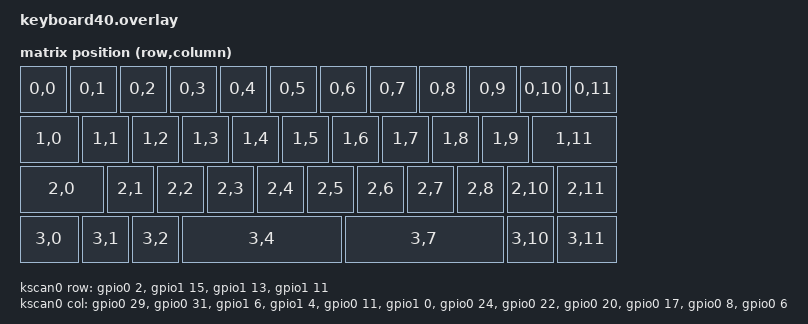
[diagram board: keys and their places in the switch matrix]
#include <dt-bindings/zmk/matrix_transform.h>

#include <physical_layouts.dtsi>
/ {
    chosen {
        zmk,kscan = &kscan0;
        zmk,matrix-transform = &default_transform;
        
    };
    default_transform: keymap_transform {
        compatible = "zmk,matrix-transform";
        columns = <12>; 
        rows = <4>; 
        map = <
            RC(0,0) RC(0,1) RC(0,2) RC(0,3) RC(0,4) RC(0,5) RC(0,6) RC(0,7) RC(0,8) RC(0,9) RC(0,10) RC(0,11)
            RC(1,0) RC(1,1) RC(1,2) RC(1,3) RC(1,4) RC(1,5) RC(1,6) RC(1,7) RC(1,8) RC(1,9)          RC(1,11)
            RC(2,0) RC(2,1) RC(2,2) RC(2,3) RC(2,4) RC(2,5) RC(2,6) RC(2,7) RC(2,8)         RC(2,10) RC(2,11)
            RC(3,0) RC(3,1) RC(3,2)         RC(3,4)                 RC(3,7)                 RC(3,10) RC(3,11)
        >;
    };
    kscan0: kscan0 {
        compatible = "zmk,kscan-gpio-matrix";
        diode-direction = "col2row";
        wakeup-source;

        col-gpios
            = <&gpio0 29 (GPIO_ACTIVE_HIGH )> //1
            , <&gpio0 31 (GPIO_ACTIVE_HIGH)> //2
            , <&gpio1 6 (GPIO_ACTIVE_HIGH)> //3
            , <&gpio1 4 (GPIO_ACTIVE_HIGH)> //4
            , <&gpio0 11 (GPIO_ACTIVE_HIGH )> //5 
            , <&gpio1 0 (GPIO_ACTIVE_HIGH )> //6
            , <&gpio0 24 (GPIO_ACTIVE_HIGH )> //7 
            , <&gpio0 22 (GPIO_ACTIVE_HIGH )> //8
            , <&gpio0 20 (GPIO_ACTIVE_HIGH )> //9
            , <&gpio0 17 (GPIO_ACTIVE_HIGH )> //10
            , <&gpio0 8 (GPIO_ACTIVE_HIGH )> //11
            , <&gpio0 6 (GPIO_ACTIVE_HIGH )> //12
            ;

        row-gpios
            = <&gpio0 2 (GPIO_ACTIVE_HIGH | GPIO_PULL_DOWN)>
            , <&gpio1 15  (GPIO_ACTIVE_HIGH | GPIO_PULL_DOWN)>
            , <&gpio1 13 (GPIO_ACTIVE_HIGH | GPIO_PULL_DOWN)>
            , <&gpio1 11 (GPIO_ACTIVE_HIGH | GPIO_PULL_DOWN)>
            ;
    };
    physical_layout0: physical_layout_0 {
        compatible = "zmk,physical-layout";
        display-name = "default";

        kscan = <&kscan0>;
        transform = <&default_transform>;

        keys  //                     w   h    x    y     rot    rx    ry
            = <&key_physical_attrs 100 100    0    0       0     0     0>
            , <&key_physical_attrs 100 100  100    0       0     0     0>
            , <&key_physical_attrs 100 100  200    0       0     0     0>
            , <&key_physical_attrs 100 100  300    0       0     0     0>
            , <&key_physical_attrs 100 100  400    0       0     0     0>
            , <&key_physical_attrs 100 100  500    0       0     0     0>
            , <&key_physical_attrs 100 100  600    0       0     0     0>
            , <&key_physical_attrs 100 100  700    0       0     0     0>
            , <&key_physical_attrs 100 100  800    0       0     0     0>
            , <&key_physical_attrs 100 100  900    0       0     0     0>
            , <&key_physical_attrs 100 100 1000    0       0     0     0>
            , <&key_physical_attrs 100 100 1100    0       0     0     0>
            , <&key_physical_attrs 125 100    0  100       0     0     0>
            , <&key_physical_attrs 100 100  125  100       0     0     0>
            , <&key_physical_attrs 100 100  225  100       0     0     0>
            , <&key_physical_attrs 100 100  325  100       0     0     0>
            , <&key_physical_attrs 100 100  425  100       0     0     0>
            , <&key_physical_attrs 100 100  525  100       0     0     0>
            , <&key_physical_attrs 100 100  625  100       0     0     0>
            , <&key_physical_attrs 100 100  725  100       0     0     0>
            , <&key_physical_attrs 100 100  825  100       0     0     0>
            , <&key_physical_attrs 100 100  925  100       0     0     0>
            , <&key_physical_attrs 175 100 1025  100       0     0     0>
            , <&key_physical_attrs 175 100    0  200       0     0     0>
            , <&key_physical_attrs 100 100  175  200       0     0     0>
            , <&key_physical_attrs 100 100  275  200       0     0     0>
            , <&key_physical_attrs 100 100  375  200       0     0     0>
            , <&key_physical_attrs 100 100  475  200       0     0     0>
            , <&key_physical_attrs 100 100  575  200       0     0     0>
            , <&key_physical_attrs 100 100  675  200       0     0     0>
            , <&key_physical_attrs 100 100  775  200       0     0     0>
            , <&key_physical_attrs 100 100  875  200       0     0     0>
            , <&key_physical_attrs 100 100  975  200       0     0     0>
            , <&key_physical_attrs 125 100 1075  200       0     0     0>
            , <&key_physical_attrs 125 100    0  300       0     0     0>
            , <&key_physical_attrs 100 100  125  300       0     0     0>
            , <&key_physical_attrs 100 100  225  300       0     0     0>
            , <&key_physical_attrs 325 100  325  300       0     0     0>
            , <&key_physical_attrs 325 100  650  300       0     0     0>
            , <&key_physical_attrs 100 100  975  300       0     0     0>
            , <&key_physical_attrs 125 100 1075  300       0     0     0>
            ;
    };
};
